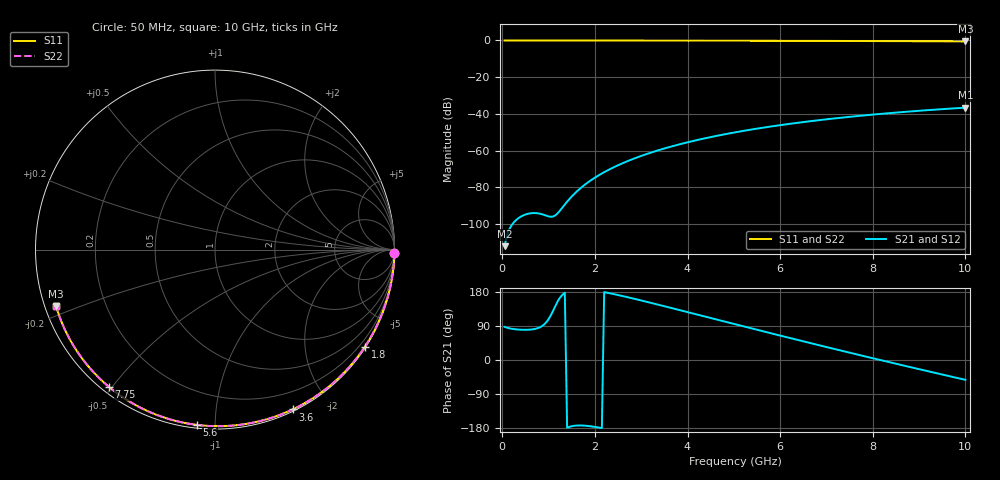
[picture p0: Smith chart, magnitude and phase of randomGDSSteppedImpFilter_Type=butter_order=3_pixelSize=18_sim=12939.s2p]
! freq	dB(S11)	phase(S11)	dB(S12)	phase(S12)
!  dB(S21)	phase(S21)	dB(S22)	phase(S22)
!S-par simulation data
#  GHz  S  DB  R 50
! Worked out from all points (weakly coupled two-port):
!   200 points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, 50 MHz to 10 GHz, reference 50 ohm
!   highest |S21| = -36.59 dB at 10 GHz (marker M1); lowest = -112.0 dB at 50 MHz (marker M2)
!   lowest |S11| = -0.5 dB at 10 GHz (marker M3), VSWR 32.32, Z = 1.59 - j8.66 ohm
!   |S11| at or under -10 dB: nowhere
!   |S22| runs from -0.5 to 0.0 dB; largest |S21 - S12| = 0
!   S11 on the Smith chart (normalised r, x): 50 MHz: open; 1.8 GHz: 0.03, -3.38; 3.6 GHz: 0.02, -1.60; 5.6 GHz: 0.02, -0.90; 7.75 GHz: 0.02, -0.49; 10 GHz: 0.03, -0.17
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0.05  -0.00 -0.9  -112.01 87.5  -112.01 87.5  -0.00 -0.9
0.45  -0.01 -8.4  -95.28 79.7  -95.28 79.7  -0.01 -8.4
0.85  -0.02 -15.7  -94.57 88.9  -94.57 88.9  -0.02 -15.7
1.7  -0.04 -31.1  -80.19 -172.7  -80.19 -172.7  -0.04 -31.1
1.75  -0.04 -32.0  -79.16 -173.0  -79.16 -173.0  -0.04 -32.0
1.8  -0.04 -32.9  -78.19 -173.5  -78.19 -173.5  -0.04 -32.9
1.95  -0.05 -35.6  -75.51 -175.6  -75.51 -175.6  -0.05 -35.6
2.1  -0.05 -38.3  -73.15 -178.6  -73.15 -178.6  -0.05 -38.3
2.3  -0.05 -41.8  -70.38 176.7  -70.38 176.7  -0.05 -41.8
2.5  -0.06 -45.3  -67.94 171.5  -67.94 171.5  -0.06 -45.3
2.9  -0.07 -52.2  -63.78 160.1  -63.78 160.1  -0.07 -52.2
3.4  -0.08 -60.7  -59.56 145.0  -59.56 145.0  -0.08 -60.7
3.6  -0.09 -64.1  -58.09 138.8  -58.09 138.8  -0.09 -64.1
4.3  -0.11 -75.5  -53.69 117.1  -53.69 117.1  -0.11 -75.5
5.05  -0.13 -87.4  -49.92 93.7  -49.92 93.7  -0.13 -87.4
5.6  -0.16 -95.9  -47.61 76.7  -47.61 76.7  -0.16 -95.9
6.15  -0.19 -104.2  -45.59 59.8  -45.59 59.8  -0.19 -104.2
6.7  -0.22 -112.4  -43.81 43.2  -43.81 43.2  -0.22 -112.4
7.75  -0.30 -127.7  -40.96 11.9  -40.96 11.9  -0.30 -127.7
8.35  -0.35 -136.3  -39.59 -5.6  -39.59 -5.6  -0.35 -136.3
9.2  -0.44 -148.6  -37.92 -29.9  -37.92 -29.9  -0.44 -148.6
10  -0.54 -160.3  -36.59 -52.3  -36.59 -52.3  -0.54 -160.3
